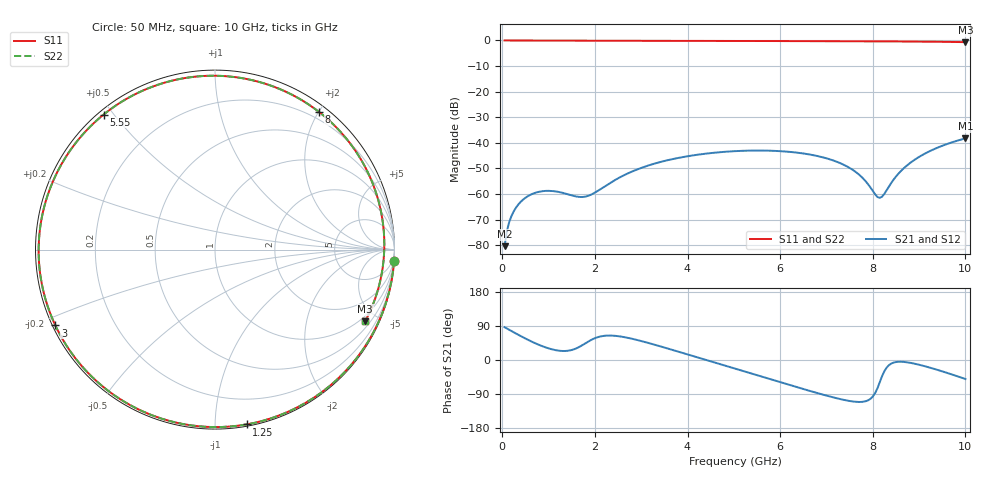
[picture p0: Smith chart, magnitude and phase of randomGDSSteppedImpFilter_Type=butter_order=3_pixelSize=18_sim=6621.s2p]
! freq	dB(S11)	phase(S11)	dB(S12)	phase(S12)
!  dB(S21)	phase(S21)	dB(S22)	phase(S22)
!S-par simulation data
#  GHz  S  DB  R 50
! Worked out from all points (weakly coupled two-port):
!   200 points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, 50 MHz to 10 GHz, reference 50 ohm
!   highest |S21| = -38.25 dB at 10 GHz (marker M1); lowest = -80.3 dB at 50 MHz (marker M2)
!   lowest |S11| = -0.7 dB at 10 GHz (marker M3), VSWR 26.38, Z = 37.6 - j214 ohm
!   |S11| at or under -10 dB: nowhere
!   |S22| runs from -0.7 to 0.0 dB; largest |S21 - S12| = 0
!   S11 on the Smith chart (normalised r, x): 50 MHz: 0, -33; 1.25 GHz: 0.01, -1.20; 3 GHz: 0.01, -0.23; 5.55 GHz: 0.02, +0.47; 8 GHz: 0.10, +2.00; 10 GHz: 0.75, -4.28
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0.05  -0.00 -3.5  -80.34 86.5  -80.34 86.5  -0.00 -3.5
0.15  -0.01 -10.4  -70.89 79.7  -70.89 79.7  -0.01 -10.4
0.4  -0.04 -27.5  -62.98 62.9  -62.98 62.9  -0.04 -27.5
0.8  -0.07 -53.4  -59.08 39.5  -59.08 39.5  -0.07 -53.4
1.25  -0.09 -79.8  -59.28 24.2  -59.28 24.2  -0.09 -79.8
1.75  -0.11 -105.1  -61.11 40.7  -61.11 40.7  -0.11 -105.1
2.35  -0.12 -130.9  -55.41 64.5  -55.41 64.5  -0.12 -130.9
3  -0.13 -154.6  -49.78 50.1  -49.78 50.1  -0.13 -154.6
3.4  -0.14 -167.7  -47.53 36.5  -47.53 36.5  -0.14 -167.7
4.2  -0.16 168.1  -44.66 7.4  -44.66 7.4  -0.16 168.1
5.05  -0.20 143.8  -43.21 -23.8  -43.21 -23.8  -0.20 143.8
5.55  -0.22 129.5  -42.99 -42.1  -42.99 -42.1  -0.22 129.5
6.7  -0.27 95.5  -44.75 -83.7  -44.75 -83.7  -0.27 95.5
7.5  -0.31 70.0  -49.78 -108.2  -49.78 -108.2  -0.31 70.0
7.75  -0.33 61.6  -53.16 -110.6  -53.16 -110.6  -0.33 61.6
8  -0.34 53.0  -58.74 -96.6  -58.74 -96.6  -0.34 53.0
8.15  -0.35 47.7  -61.45 -58.8  -61.45 -58.8  -0.35 47.7
8.35  -0.37 40.5  -57.02 -13.5  -57.02 -13.5  -0.37 40.5
8.6  -0.40 31.2  -51.14 -4.6  -51.14 -4.6  -0.40 31.2
8.95  -0.44 17.9  -46.04 -11.0  -46.04 -11.0  -0.44 17.9
9.5  -0.53 -4.2  -41.14 -30.0  -41.14 -30.0  -0.53 -4.2
10  -0.66 -25.6  -38.25 -50.1  -38.25 -50.1  -0.66 -25.6
